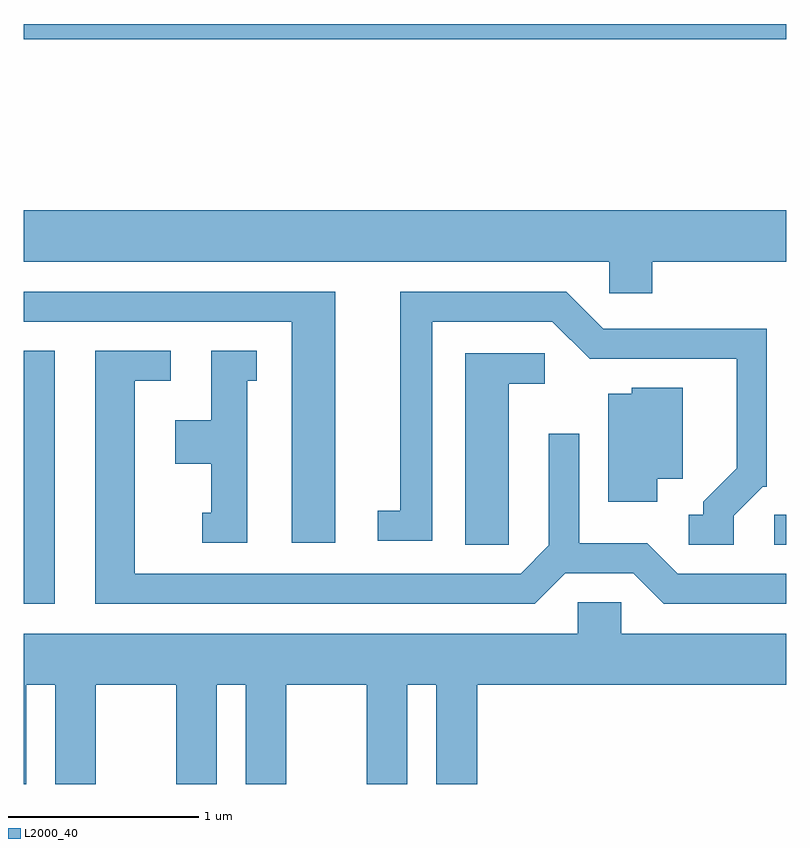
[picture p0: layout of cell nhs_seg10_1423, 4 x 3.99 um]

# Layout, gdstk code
import gdstk
lib = gdstk.Library(unit=1e-6, precision=1e-09)
def R(c, l, rs):  # rectangles x0, y0, x1, y1
    for r in rs: c.add(gdstk.rectangle(r[:2], r[2:], *l))
def P(c, l, *ps):  # polygons
    for p in ps: c.add(gdstk.Polygon(p, *l))
L2000_40 = (2000, 40)

nhs_seg10_1423 = lib.new_cell('nhs_seg10_1423')
R(nhs_seg10_1423, L2000_40, [(227.611,2085.481,227.774,2086.809), (231.548,2085.791,231.611,2085.949), (227.611,2088.441,231.611,2088.522)])
P(nhs_seg10_1423, L2000_40, [(230.909,2087.276),(231.611,2087.276),(231.611,2087.544),(227.611,2087.544),(227.611,2087.276),(230.681,2087.276),(230.681,2087.111),(230.909,2087.111)],
  [(231.334,2085.943),(231.487,2086.096),(231.509,2086.096),(231.509,2086.924),(230.652,2086.924),(230.457,2087.119),(229.586,2087.119),(229.586,2085.969),(229.468,2085.969),(229.468,2085.811),(229.754,2085.811),(229.754,2086.961),(230.384,2086.961),(230.579,2086.766),(231.351,2086.766),(231.351,2086.192),(231.176,2086.017),(231.176,2085.949),(231.098,2085.949),(231.098,2085.791),(231.334,2085.791)],
  [(229.244,2087.119),(227.611,2087.119),(227.611,2086.961),(229.016,2086.961),(229.016,2085.801),(229.244,2085.801)],
  [(230.452,2085.641),(230.809,2085.641),(230.969,2085.481),(231.611,2085.481),(231.611,2085.639),(231.042,2085.639),(230.882,2085.799),(230.524,2085.799),(230.524,2086.373),(230.366,2086.373),(230.366,2085.787),(230.219,2085.639),(228.194,2085.639),(228.194,2086.651),(228.383,2086.651),(228.383,2086.809),(227.986,2086.809),(227.986,2085.481),(230.292,2085.481)],
  [(228.784,2086.651),(228.833,2086.651),(228.833,2086.809),(228.596,2086.809),(228.596,2086.444),(228.406,2086.444),(228.406,2086.216),(228.596,2086.216),(228.596,2085.959),(228.548,2085.959),(228.548,2085.801),(228.784,2085.801)],
  [(230.154,2086.636),(230.343,2086.636),(230.343,2086.794),(229.926,2086.794),(229.926,2085.791),(230.154,2085.791)],
  [(230.934,2086.136),(231.069,2086.136),(231.069,2086.614),(230.801,2086.614),(230.801,2086.584),(230.676,2086.584),(230.676,2086.016),(230.934,2086.016)],
  [(227.624,2085.056),(227.776,2085.056),(227.776,2084.536),(227.989,2084.536),(227.989,2085.056),(228.411,2085.056),(228.411,2084.536),(228.624,2084.536),(228.624,2085.056),(228.776,2085.056),(228.776,2084.536),(228.989,2084.536),(228.989,2085.056),(229.411,2085.056),(229.411,2084.536),(229.624,2084.536),(229.624,2085.056),(229.776,2085.056),(229.776,2084.536),(229.989,2084.536),(229.989,2085.056),(231.611,2085.056),(231.611,2085.324),(230.744,2085.324),(230.744,2085.489),(230.516,2085.489),(230.516,2085.324),(227.611,2085.324),(227.611,2084.536),(227.624,2084.536)])

lib.write_gds('nhs_seg10_1423.gds')
